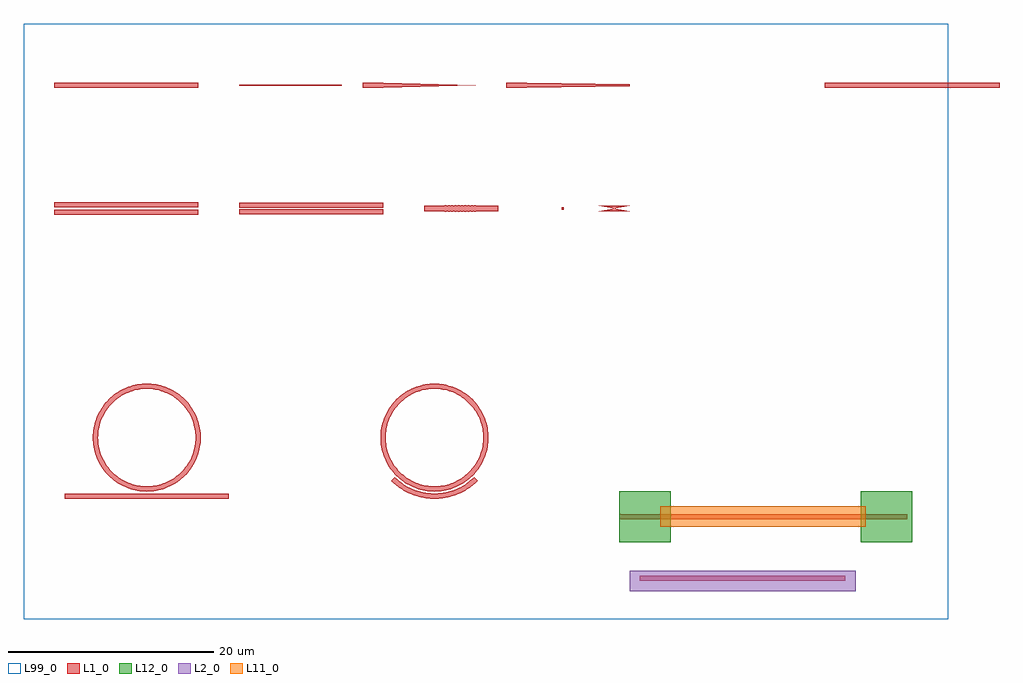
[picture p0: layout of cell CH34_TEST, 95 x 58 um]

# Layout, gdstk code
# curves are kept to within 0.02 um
import gdstk
lib = gdstk.Library(unit=1e-6, precision=1e-09)
def R(c, l, rs):  # rectangles x0, y0, x1, y1
    for r in rs: c.add(gdstk.rectangle(r[:2], r[2:], *l))
def P(c, l, *ps):  # polygons
    for p in ps: c.add(gdstk.Polygon(p, *l))
L1_0 = (1, 0)
L2_0 = (2, 0)
L11_0 = (11, 0)
L12_0 = (12, 0)
L99_0 = (99, 0)

ch34_test = lib.new_cell('CH34_TEST')
R(ch34_test, L1_0, [(60,3.75,80,4.25), (58,9.75,86,10.25), (4,11.75,20,12.25), (3,39.4,17,39.9), (21,39.42,35,39.92), (52.4,39.9,52.6,40.1), (21,40.08,35,40.58), (3,40.1,17,40.6), (3,51.75,17,52.25), (33,51.75,35,52.25), (47,51.75,49,52.25), (78,51.75,95,52.25), (21,51.94,31,52.06)])
P(ch34_test, L1_0, [(35,51.75),(35,52.25),(44,52)],
  [(49,51.75),(49,52.25),(59,52.09),(59,51.91)],
  [(41,39.7),(41,39.75),(39,39.75),(39,40.25),(41,40.25),(41,40.3),(41.16,40.3),(41.16,40.25),(41.32,40.25),(41.32,40.3),(41.48,40.3),(41.48,40.25),(41.64,40.25),(41.64,40.3),(41.8,40.3),(41.8,40.25),(41.96,40.25),(41.96,40.3),(42.12,40.3),(42.12,40.25),(42.28,40.25),(42.28,40.3),(42.44,40.3),(42.44,40.25),(42.6,40.25),(42.6,40.3),(42.76,40.3),(42.76,40.25),(42.92,40.25),(42.92,40.3),(43.08,40.3),(43.08,40.25),(43.24,40.25),(43.24,40.3),(43.4,40.3),(43.4,40.25),(43.56,40.25),(43.56,40.3),(43.72,40.3),(43.72,40.25),(43.88,40.25),(43.88,40.3),(44.04,40.3),(44.04,40.25),(46.2,40.25),(46.2,39.75),(44.04,39.75),(44.04,39.7),(43.88,39.7),(43.88,39.75),(43.72,39.75),(43.72,39.7),(43.56,39.7),(43.56,39.75),(43.4,39.75),(43.4,39.7),(43.24,39.7),(43.24,39.75),(43.08,39.75),(43.08,39.7),(42.92,39.7),(42.92,39.75),(42.76,39.75),(42.76,39.7),(42.6,39.7),(42.6,39.75),(42.44,39.75),(42.44,39.7),(42.28,39.7),(42.28,39.75),(42.12,39.75),(42.12,39.7),(41.96,39.7),(41.96,39.75),(41.8,39.75),(41.8,39.7),(41.64,39.7),(41.64,39.75),(41.48,39.75),(41.48,39.7),(41.32,39.7),(41.32,39.75),(41.16,39.75),(41.16,39.7)],
  [(56,39.75),(59,39.75),(56,40.25),(59,40.25)],
  [(12,12.45),(11.542,12.47),(10.864,12.574),(10.421,12.693),(9.991,12.85),(9.576,13.043),(9.179,13.272),(8.625,13.678),(8.288,13.988),(7.978,14.325),(7.572,14.879),(7.343,15.276),(7.15,15.691),(6.993,16.121),(6.874,16.564),(6.77,17.242),(6.75,17.7),(6.77,18.158),(6.874,18.836),(6.993,19.279),(7.242,19.919),(7.453,20.325),(7.699,20.711),(7.978,21.075),(8.453,21.571),(8.989,22.001),(9.765,22.45),(12,22.45),(11.38,22.409),(10.771,22.288),(10.182,22.088),(9.625,21.814),(9.108,21.468),(8.641,21.059),(8.361,20.753),(7.994,20.252),(7.695,19.707),(7.536,19.325),(7.363,18.728),(7.268,18.114),(7.255,17.493),(7.322,16.875),(7.47,16.272),(7.612,15.882),(7.886,15.325),(8.232,14.808),(8.641,14.341),(8.947,14.061),(9.448,13.694),(9.993,13.395),(10.572,13.17),(11.175,13.022),(11.793,12.955),(12.414,12.968),(12.825,13.022),(13.428,13.17),(14.007,13.395),(14.375,13.586),(14.892,13.932),(15.359,14.341),(15.768,14.808),(16.114,15.325),(16.464,16.075),(16.637,16.672),(16.732,17.286),(16.732,18.114),(16.637,18.728),(16.464,19.325),(16.114,20.075),(15.768,20.592),(15.502,20.909),(14.892,21.468),(14.375,21.814),(14.007,22.005),(13.229,22.288),(12.414,22.432),(9.765,22.45),(10.204,22.633),(10.864,22.826),(11.542,22.93),(12,22.95),(12.458,22.93),(13.136,22.826),(13.579,22.707),(14.009,22.55),(14.424,22.357),(14.821,22.128),(15.375,21.722),(15.712,21.412),(16.022,21.075),(16.428,20.521),(16.657,20.124),(16.85,19.709),(17.007,19.279),(17.126,18.836),(17.23,18.158),(17.25,17.7),(17.23,17.242),(17.126,16.564),(17.007,16.121),(16.85,15.691),(16.657,15.276),(16.428,14.879),(16.022,14.325),(15.712,13.988),(15.375,13.678),(14.821,13.272),(14.424,13.043),(14.009,12.85),(13.579,12.693),(13.136,12.574),(12.458,12.47)],
  [(40,12.45),(39.54,12.47),(39.09,12.53),(38.64,12.63),(37.99,12.85),(37.18,13.27),(36.625,13.68),(36.29,13.99),(35.98,14.325),(35.57,14.88),(35.15,15.69),(34.93,16.34),(34.83,16.79),(34.77,17.24),(34.75,17.7),(34.77,18.16),(34.875,18.835),(35.065,19.495),(35.24,19.92),(35.57,20.52),(35.835,20.895),(36.455,21.57),(37.18,22.13),(37.76,22.45),(40,22.45),(39.38,22.41),(38.77,22.29),(38.18,22.09),(37.805,21.915),(37.275,21.59),(36.945,21.34),(36.5,20.91),(36.11,20.425),(35.785,19.895),(35.61,19.52),(35.41,18.93),(35.29,18.32),(35.25,17.7),(35.29,17.08),(35.41,16.47),(35.61,15.88),(35.885,15.325),(36.23,14.81),(36.64,14.34),(36.945,14.06),(37.45,13.695),(37.995,13.395),(38.57,13.17),(39.175,13.02),(39.795,12.955),(40.205,12.955),(40.825,13.02),(41.43,13.17),(41.82,13.31),(42.375,13.585),(42.89,13.93),(43.36,14.34),(43.77,14.81),(44.215,15.505),(44.465,16.075),(44.68,16.875),(44.75,17.7),(44.71,18.32),(44.59,18.93),(44.39,19.52),(44.215,19.895),(43.89,20.425),(43.36,21.06),(42.725,21.59),(42.195,21.915),(41.82,22.09),(41.23,22.29),(40.825,22.38),(40.415,22.43),(37.76,22.45),(38.205,22.635),(38.865,22.825),(39.54,22.93),(40,22.95),(40.46,22.93),(40.91,22.87),(41.36,22.77),(42.01,22.55),(42.82,22.13),(43.375,21.72),(43.71,21.41),(44.02,21.075),(44.43,20.52),(44.85,19.71),(45.07,19.06),(45.17,18.61),(45.23,18.16),(45.25,17.7),(45.23,17.24),(45.17,16.79),(45.07,16.34),(44.85,15.69),(44.43,14.88),(44.02,14.325),(43.71,13.99),(43.375,13.68),(42.82,13.27),(42.01,12.85),(41.36,12.63),(40.91,12.53),(40.46,12.47)],
  [(39.895,11.75),(38.965,11.84),(38.36,11.98),(37.485,12.305),(37.025,12.545),(36.335,13.01),(35.795,13.495),(36.145,13.845),(36.495,13.525),(36.95,13.18),(37.695,12.76),(38.225,12.545),(38.68,12.41),(39.145,12.315),(39.715,12.255),(40.285,12.255),(40.855,12.315),(41.32,12.41),(41.955,12.61),(42.39,12.8),(43.05,13.18),(43.505,13.525),(43.855,13.845),(44.205,13.495),(43.825,13.14),(43.325,12.765),(42.795,12.445),(42.23,12.185),(41.64,11.98),(41.035,11.84),(40.415,11.765)])
R(ch34_test, L2_0, [(59,2.75,81,4.75)])
R(ch34_test, L11_0, [(62,9,82,11)])
R(ch34_test, L12_0, [(58,7.5,63,12.5), (81.5,7.5,86.5,12.5)])
R(ch34_test, L99_0, [(0,0,90,58)])

lib.write_gds('CH34_TEST.gds')
